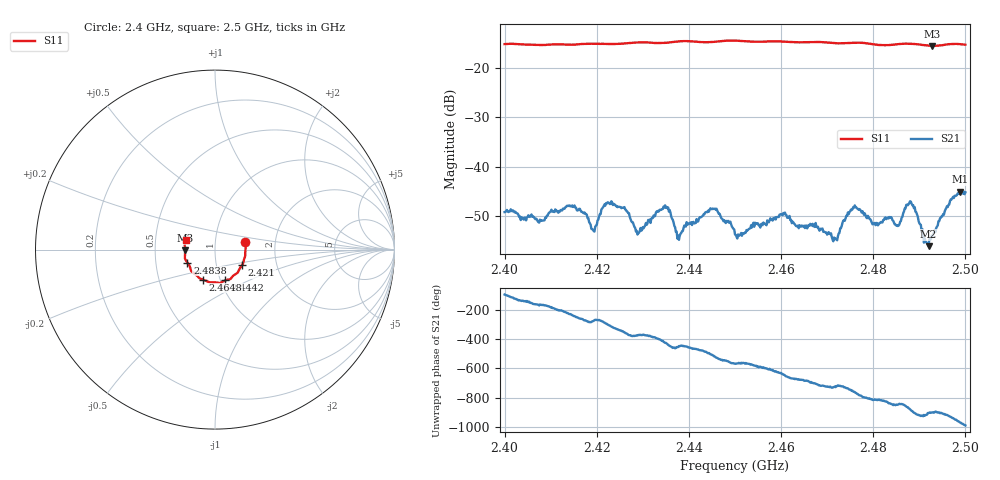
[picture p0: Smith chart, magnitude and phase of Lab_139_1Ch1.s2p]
# Hz S RI R 50
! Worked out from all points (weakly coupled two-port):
!   601 points, 2.4 GHz to 2.5 GHz, reference 50 ohm
!   highest |S21| = -45.03 dB at 2.4988 GHz (marker M1); lowest = -56.1 dB at 2.492 GHz (marker M2)
!   lowest |S11| = -15.6 dB at 2.4928 GHz (marker M3), VSWR 1.40, Z = 35.8 - j0.349 ohm
!   |S11| at or under -10 dB: start of sweep to end of sweep
!   S12 and S22 are empty: the file has one direction only
!   S11 on the Smith chart (normalised r, x): 2.4 GHz: 1.40, +0.12; 2.421 GHz: 1.33, -0.24; 2.4442 GHz: 1.05, -0.37; 2.4648 GHz: 0.83, -0.29; 2.4838 GHz: 0.73, -0.11; 2.5 GHz: 0.72, +0.08
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2.4e9  0.1678 0.0413  -0.00048 -0.00344  0 0  0 0
2.416667e9  0.1591 -0.068  -0.000408 0.00347  0 0  0 0
2.419333e9  0.1537 -0.0815  0.000283 0.00222  0 0  0 0
2.421e9  0.15 -0.0877  0.000501 0.00365  0 0  0 0
2.425833e9  0.1334 -0.1133  0.0038 0.000452  0 0  0 0
2.428833e9  0.1273 -0.1266  0.002 -0.000501  0 0  0 0
2.433333e9  0.1079 -0.1403  0.00277 -0.00227  0 0  0 0
2.437833e9  0.0886 -0.1613  2.51e-05 -0.00182  0 0  0 0
2.444167e9  0.0567 -0.1714  -0.00265 -0.00243  0 0  0 0
2.45e9  0.0243 -0.186  -0.00182 0.000988  0 0  0 0
2.460333e9  -0.0367 -0.1796  0.000542 0.00319  0 0  0 0
2.464833e9  -0.0685 -0.1669  0.00189 0.0016  0 0  0 0
2.466667e9  -0.0801 -0.1628  0.00236 0.000938  0 0  0 0
2.471667e9  -0.0999 -0.1455  0.00185 -0.000148  0 0  0 0
2.475667e9  -0.126 -0.1257  0.00302 -0.00247  0 0  0 0
2.483333e9  -0.1507 -0.0761  -0.00144 -0.00263  0 0  0 0
2.483833e9  -0.1534 -0.0721  -0.00168 -0.00259  0 0  0 0
2.488167e9  -0.1675 -0.0471  -0.00428 -0.00112  0 0  0 0
2.492e9  -0.166 -0.015  -0.00157 0.000144  0 0  0 0
2.492833e9  -0.1658 -0.00474  -0.00197 4.66e-05  0 0  0 0
2.498833e9  -0.1669 0.0441  -0.00197 0.00525  0 0  0 0
2.5e9  -0.1622 0.0529  -1.76e-05 0.0055  0 0  0 0
